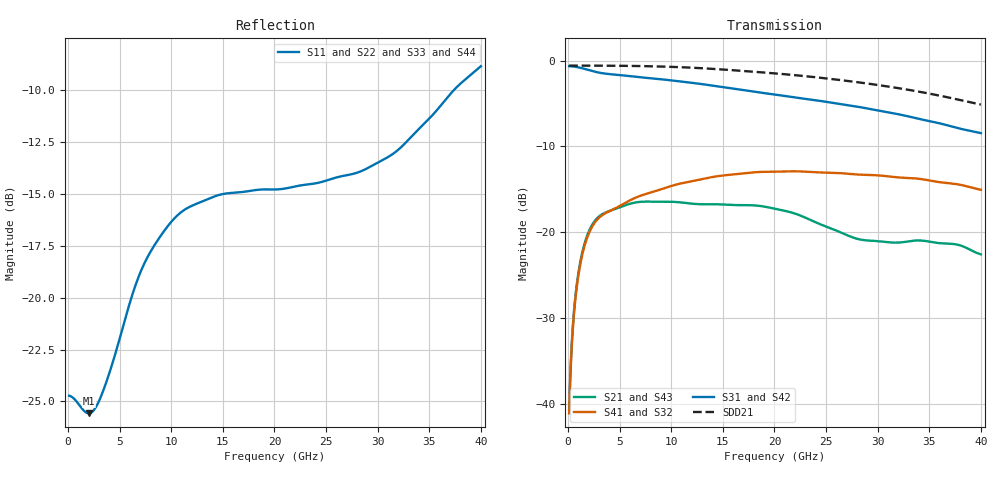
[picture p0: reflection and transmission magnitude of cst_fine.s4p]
! E_s8_L1L8_p1000_round_g0: pair L1→L8, pitch 1 mm, two round antipads, 0 GND vias
! stackup: 8-layer 1.6 mm FR-4 (generic)
! ports: 1 P near, 2 N near, 3 P far, 4 N far
! CST Studio Suite 2025.5 Release from 2025-05-30, time domain (FIT, hexahedral, PBA), 344960 mesh cells, 75 s
! mesh: {'lpw': 30.0, 'lpb': 30.0, 'minstep': 0.0, 'ratio': 20}; ports: port 1 (face); port 2 (face); port 3 (face); port 4 (face)
! interpolated from CST's 1001 samples to the case grid
# Hz S RI R 50
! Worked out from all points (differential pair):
!   400 points, 100 MHz to 40 GHz, reference 50 ohm
!   strongest paths, dB at 100 MHz, 10.1 GHz, 20.1 GHz, 30.1 GHz, 40 GHz:
!     S31: -0.6, -2.3, -4.0, -5.8, -8.4
!     S42: -0.6, -2.3, -4.0, -5.8, -8.4
!     S41: -41.1, -14.6, -12.9, -13.4, -15.0
!     S32: -41.1, -14.6, -12.9, -13.4, -15.0
!     S21: -40.7, -16.4, -17.3, -21.0, -22.6
!     S43: -40.7, -16.4, -17.3, -21.0, -22.6
!   taken as a pair (ports 1,2 in; 3,4 out), SDD21 dB: -0.6, -0.7, -1.5, -2.9, -5.1
!   lowest |S11| = -25.6 dB at 2 GHz (marker M1), VSWR 1.11, Z = 53.4 + j4.27 ohm
!   |S11| at or under -10 dB: start of sweep to 37.37 GHz
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1e8  -0.0577 0.00642  0.00741 0.00557  0.9272 -0.0402  -0.00701 -0.00538
     0.00741 0.00557  -0.0577 0.00642  -0.00701 -0.00538  0.9272 -0.0402
     0.9272 -0.0402  -0.00701 -0.00538  -0.0577 0.00642  0.00741 0.00557
     -0.00701 -0.00538  0.9272 -0.0402  0.00741 0.00557  -0.0577 0.00642
2e9  0.0344 0.0399  0.0986 0.022  0.5911 -0.6527  -0.0963 -0.0194
     0.0986 0.022  0.0344 0.0399  -0.0963 -0.0194  0.5911 -0.6527
     0.5911 -0.6527  -0.0963 -0.0194  0.0344 0.0399  0.0986 0.022
     -0.0963 -0.0194  0.5911 -0.6527  0.0986 0.022  0.0344 0.0399
7.4e9  -0.1125 -0.0448  -0.0875 -0.123  -0.7678 -0.2083  0.0942 0.137
       -0.0875 -0.123  -0.1125 -0.0448  0.0942 0.137  -0.7678 -0.2083
       -0.7678 -0.2083  0.0942 0.137  -0.1125 -0.0448  -0.0875 -0.123
       0.0942 0.137  -0.7678 -0.2083  -0.0875 -0.123  -0.1125 -0.0448
1.2e10  0.00834 0.1663  -0.092 0.1145  -0.0708 0.7389  0.1327 -0.1474
        -0.092 0.1145  0.00834 0.1663  0.1327 -0.1474  -0.0708 0.7389
        -0.0708 0.7389  0.1327 -0.1474  0.00834 0.1663  -0.092 0.1145
        0.1327 -0.1474  -0.0708 0.7389  -0.092 0.1145  0.00834 0.1663
2.01e10  0.018 -0.1814  0.0994 -0.0943  0.1319 -0.6199  -0.1402 0.1766
         0.0994 -0.0943  0.018 -0.1814  -0.1402 0.1766  0.1319 -0.6199
         0.1319 -0.6199  -0.1402 0.1766  0.018 -0.1814  0.0994 -0.0943
         -0.1402 0.1766  0.1319 -0.6199  0.0994 -0.0943  0.018 -0.1814
2.87e10  -0.0927 0.181  -0.0484 0.076  -0.0777 0.5248  0.0947 -0.1944
         -0.0484 0.076  -0.0927 0.181  0.0947 -0.1944  -0.0777 0.5248
         -0.0777 0.5248  0.0947 -0.1944  -0.0927 0.181  -0.0484 0.076
         0.0947 -0.1944  -0.0777 0.5248  -0.0484 0.076  -0.0927 0.181
4e10  0.0272 -0.3602  -0.0581 -0.0465  -0.2962 -0.2348  0.127 0.1234
      -0.0581 -0.0465  0.0272 -0.3602  0.127 0.1234  -0.2962 -0.2348
      -0.2962 -0.2348  0.127 0.1234  0.0271 -0.3602  -0.0581 -0.0465
      0.127 0.1234  -0.2962 -0.2348  -0.0581 -0.0465  0.0271 -0.3602
